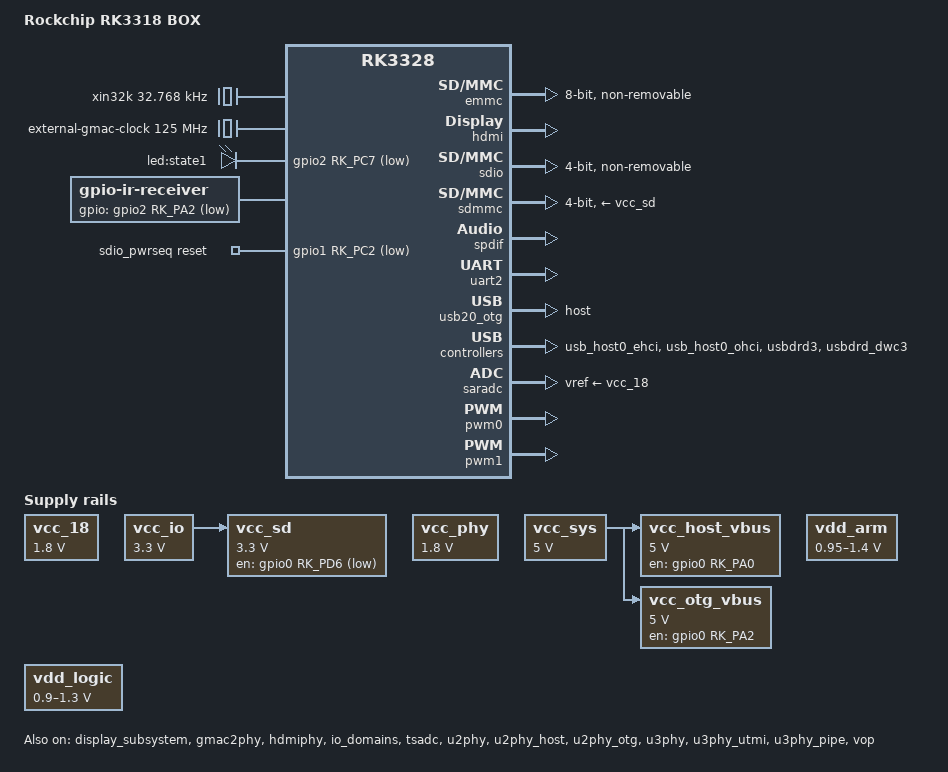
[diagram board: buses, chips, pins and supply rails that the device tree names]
/*
 * Copyright (c) 2017 Fuzhou Rockchip Electronics Co., Ltd
 *
 * This file is dual-licensed: you can use it either under the terms
 * of the GPL or the X11 license, at your option. Note that this dual
 * licensing only applies to this file, and not this project as a
 * whole.
 *
 *  a) This library is free software; you can redistribute it and/or
 *     modify it under the terms of the GNU General Public License as
 *     published by the Free Software Foundation; either version 2 of the
 *     License, or (at your option) any later version.
 *
 *     This library is distributed in the hope that it will be useful,
 *     but WITHOUT ANY WARRANTY; without even the implied warranty of
 *     MERCHANTABILITY or FITNESS FOR A PARTICULAR PURPOSE.  See the
 *     GNU General Public License for more details.
 *
 * Or, alternatively,
 *
 *  b) Permission is hereby granted, free of charge, to any person
 *     obtaining a copy of this software and associated documentation
 *     files (the "Software"), to deal in the Software without
 *     restriction, including without limitation the rights to use,
 *     copy, modify, merge, publish, distribute, sublicense, and/or
 *     sell copies of the Software, and to permit persons to whom the
 *     Software is furnished to do so, subject to the following
 *     conditions:
 *
 *     The above copyright notice and this permission notice shall be
 *     included in all copies or substantial portions of the Software.
 *
 *     THE SOFTWARE IS PROVIDED "AS IS", WITHOUT WARRANTY OF ANY KIND,
 *     EXPRESS OR IMPLIED, INCLUDING BUT NOT LIMITED TO THE WARRANTIES
 *     OF MERCHANTABILITY, FITNESS FOR A PARTICULAR PURPOSE AND
 *     NONINFRINGEMENT. IN NO EVENT SHALL THE AUTHORS OR COPYRIGHT
 *     HOLDERS BE LIABLE FOR ANY CLAIM, DAMAGES OR OTHER LIABILITY,
 *     WHETHER IN AN ACTION OF CONTRACT, TORT OR OTHERWISE, ARISING
 *     FROM, OUT OF OR IN CONNECTION WITH THE SOFTWARE OR THE USE OR
 *     OTHER DEALINGS IN THE SOFTWARE.
 */

/dts-v1/;
#include "rk3328.dtsi"

/ {
	model = "Rockchip RK3318 BOX";
	compatible = "rockchip,rk3318-box", "rockchip,rk3328-box", "rockchip,rk3328";

	aliases {
		mmc0 = <&sdmmc>;
		mmc1 = <&sdio>;
		mmc2 = <&emmc>;
		mmc3 = <&sdmmc_ext>;
	};

	chosen {
		bootargs = "console=ttyS2,115200";
	};

	reserved-memory {
		#address-cells = <2>;
		#size-cells = <2>;
		ranges;

		drm_logo: drm-logo@00000000 {
			compatible = "rockchip,drm-logo";
			reg = <0x0 0x0 0x0 0x0>;
		};

		secure_memory: secure-memory@20000000 {
			compatible = "rockchip,secure-memory";
			reg = <0x0 0x20000000 0x0 0x0>;
		};

		/* global autoconfigured region for contiguous allocations */
		linux,cma {
			compatible = "shared-dma-pool";
			reusable;
			size = <0x0 0x1000000>;
			linux,cma-default;
		};
	};

	regulators {
		compatible = "simple-bus";
		#address-cells = <0x01>;
		#size-cells = <0x00>;

		vcc_18: regulator@0 {
			compatible = "regulator-fixed";
			regulator-name = "vccio_1v8";
			regulator-min-microvolt = <1800000>;
			regulator-max-microvolt = <1800000>;
			regulator-always-on;
		};

		vcc_io: regulator@1 {
			compatible = "regulator-fixed";
			regulator-name = "vccio_3v3";
			regulator-min-microvolt = <3300000>;
			regulator-max-microvolt = <3300000>;
			regulator-always-on;
		};
	};

	xin32k: xin32k {
		compatible = "fixed-clock";
		clock-frequency = <32768>;
		clock-output-names = "xin32k";
		#clock-cells = <0>;
	};

	external-gmac-clock {
		compatible = "fixed-clock";
		clock-frequency = <125000000>;
		clock-output-names = "gmac_clkin";
		#clock-cells = <0x00>;
	};

	vcc_phy: vcc-phy-regulator {
		compatible = "regulator-fixed";
		regulator-name = "vcc_phy";
		regulator-min-microvolt = <1800000>;
		regulator-max-microvolt = <1800000>;
		regulator-always-on;
		regulator-boot-on;
	};

	vcc_sys: vcc-sys {
		compatible = "regulator-fixed";
		regulator-name = "vcc_sys";
		regulator-always-on;
		regulator-boot-on;
		regulator-min-microvolt = <5000000>;
		regulator-max-microvolt = <5000000>;
	};

	vcc_sd: sdmmc-regulator {
		compatible = "regulator-fixed";
		gpio = <&gpio0 RK_PD6 GPIO_ACTIVE_LOW>;
		pinctrl-names = "default";
		pinctrl-0 = <&sdmmc0m1_gpio>;
		regulator-name = "vcc_sd";
		regulator-always-on;
		regulator-boot-on;
		regulator-min-microvolt = <3300000>;
		regulator-max-microvolt = <3300000>;
		vin-supply = <&vcc_io>;
	};

	/*
	* USB3 vbus
	*/
	vcc_host_vbus: vcc-host-vbus {
		compatible = "regulator-fixed";
		enable-active-high;
		gpio = <&gpio0 RK_PA0 GPIO_ACTIVE_HIGH>;
		pinctrl-names = "default";
		pinctrl-0 = <&usb30_host_drv>;
		regulator-name = "vcc_host_vbus";
		regulator-always-on;
		regulator-min-microvolt = <5000000>;
		regulator-max-microvolt = <5000000>;
		vin-supply = <&vcc_sys>;
	};

	/*
	* USB2 OTG vbus
	*/
	vcc_otg_vbus: vcc-otg-vbus {
		compatible = "regulator-fixed";
		enable-active-high;
		gpio = <&gpio0 RK_PA2 GPIO_ACTIVE_HIGH>;
		pinctrl-names = "default";
		pinctrl-0 = <&usb20_host_drv>;
		regulator-name = "vcc_otg_vbus";
		regulator-always-on;
		regulator-min-microvolt = <5000000>;
		regulator-max-microvolt = <5000000>;
		vin-supply = <&vcc_sys>;
	};

	vdd_arm: vdd-arm {
		compatible = "pwm-regulator";
		rockchip,pwm_id = <0>;
		rockchip,pwm_voltage = <1100000>;
 		pwms = <&pwm0 0 5000 1>;
		regulator-name = "vdd_arm";
		regulator-min-microvolt = <950000>;
		regulator-max-microvolt = <1400000>;
		regulator-ramp-delay = <12500>;
		regulator-settling-time-up-us = <250>;
		regulator-always-on;
		regulator-boot-on;
	};

	vdd_logic: vdd-log {
		compatible = "pwm-regulator";
		rockchip,pwm_id = <1>;
		rockchip,pwm_voltage = <1200000>;
		pwms = <&pwm1 0 5000 1>;
		regulator-name = "vdd_log";
		regulator-min-microvolt = <900000>;
		regulator-max-microvolt = <1300000>;
		regulator-ramp-delay = <12500>;
		regulator-settling-time-up-us = <250>;
		regulator-always-on;
		regulator-boot-on;
	};

	leds {
		compatible = "gpio-leds";

		working {
            label = "led:state1";
			gpios = <&gpio2 RK_PC7 GPIO_ACTIVE_LOW>;
			linux,default-trigger = "timer";
			default-state = "on";
		};

	};

	ir-receiver {
		compatible = "gpio-ir-receiver";
		gpios = <&gpio2 RK_PA2 GPIO_ACTIVE_LOW>;
		pinctrl-0 = <&ir_int>;
		pinctrl-names = "default";
	};
    
    sdio_pwrseq: sdio-pwrseq {
		compatible = "mmc-pwrseq-simple";
		pinctrl-names = "default";
		pinctrl-0 = <&wifi_enable_h>;

		/*
		 * On the module itself this is one of these (depending
		 * on the actual card populated):
		 * - SDIO_RESET_L_WL_REG_ON
		 * - PDN (power down when low)
		 */
		reset-gpios = <&gpio1 RK_PC2 GPIO_ACTIVE_LOW>;
	};

};

&cpu0 {
	cpu-supply = <&vdd_arm>;
};

&cpu1 {
	cpu-supply = <&vdd_arm>;
};

&cpu2 {
	cpu-supply = <&vdd_arm>;
};

&cpu3 {
	cpu-supply = <&vdd_arm>;
};

&display_subsystem {

	logo-memory-region = <&drm_logo>;
	secure-memory-region = <&secure_memory>;
	ports = <&vop_out>;

	status = "okay";

	route {
		route_hdmi: route-hdmi {
			status = "okay";
			connect = <&vop_out_hdmi>;
		};
		route_tve: route-tve {
			status = "okay";
			connect = <&vop_out_tve>;
		};
	};

};

&emmc {
	bus-width = <8>;
	cap-mmc-highspeed;
	non-removable;
	disable-wp;
	non-removable;
	num-slots = <0x01>;
	//pinctrl-names = "default";
	//pinctrl-0 = <&emmc_clk &emmc_cmd &emmc_bus8>;
	supports-emmc;
	status = "okay";
};

&gmac2phy {
	phy-supply = <&vcc_phy>;

	phy-mode = "rmii";
	phy-is-integrated;
	clock_in_out = "output";
	assigned-clocks = <&cru SCLK_MAC2PHY>;
	assigned-clock-rate = <50000000>;
	assigned-clock-parents = <&cru SCLK_MAC2PHY_SRC>;
	tx_delay = <0x30>;
	rx_delay = <0x10>;

	status = "okay";

};

&gpu {
	status = "disabled";
	mali-supply = <&vdd_logic>;
};

&hdmi {
	#sound-dai-cells = <0>;
	ddc-i2c-scl-high-time-ns = <9625>;
	ddc-i2c-scl-low-time-ns = <10000>;
	status = "okay";
};

&hdmiphy {
	status = "okay";
};

&io_domains {
	status = "okay";

	vccio1-supply = <&vcc_io>;
	vccio2-supply = <&vcc_18>;
	vccio3-supply = <&vcc_io>;
	vccio4-supply = <&vcc_18>;
	vccio5-supply = <&vcc_io>;
	vccio6-supply = <&vcc_io>;
	pmuio-supply = <&vcc_io>;
};

&pinctrl {
	pinctrl-names = "default";
	pinctrl-0 = <&clk_32k_out>;

	clk_32k {
		clk_32k_out: clk-32k-out {
			rockchip,pins = <1 RK_PD4 RK_FUNC_1 &pcfg_pull_none>;
		};
	};

	ir {
		ir_int: ir-int {
			rockchip,pins = <2 RK_PA2 RK_FUNC_GPIO &pcfg_pull_none>;
		};
	};

	pmic {
		pmic_int_l: pmic-int-l {
			rockchip,pins = <2 RK_PA6 RK_FUNC_GPIO &pcfg_pull_up>;
		};
	};

	sdio-pwrseq {
		wifi_enable_h: wifi-enable-h {
			rockchip,pins = <1 RK_PC2 RK_FUNC_GPIO &pcfg_pull_none_4ma>,
				<1 RK_PC3 RK_FUNC_GPIO &pcfg_pull_none_4ma>;
		};
	};

	usb2 {
		usb20_host_drv: usb20-host-drv {
			rockchip,pins = <0 RK_PA2 RK_FUNC_GPIO &pcfg_pull_none>;
		};
	};

	usb3 {
		usb30_host_drv: usb30-host-drv {
			rockchip,pins = <0 RK_PA0 RK_FUNC_GPIO &pcfg_pull_none>;
		};
	};

	wireless-bluetooth {
		uart0_gpios: uart0-gpios {
			rockchip,pins = <1 RK_PB2 RK_FUNC_GPIO &pcfg_pull_none>;
		};
	};
};

&sdio {
	bus-width = <4>;
	cap-sd-highspeed;
	cap-sdio-irq;
	disable-wp;
	keep-power-in-suspend;
	mmc-pwrseq = <&sdio_pwrseq>;
	non-removable;
	num-slots = <1>;
	pinctrl-names = "default";
	pinctrl-0 = <&sdmmc1_bus4 &sdmmc1_cmd &sdmmc1_clk>;
	supports-sdio;
	status = "okay";
};

&sdmmc {
	bus-width = <4>;
	cap-mmc-highspeed;
	cap-sd-highspeed;
	card-detect-delay = <800>;
	disable-wp;
	pinctrl-names = "default";
	pinctrl-0 = <&sdmmc0_clk &sdmmc0_cmd &sdmmc0_dectn &sdmmc0_bus4>;
	supports-sd;
	vmmc-supply = <&vcc_sd>;
	status = "okay";
};

&spdif {
	#sound-dai-cells = <0>;
	pinctrl-names = "default";
	pinctrl-0 = <&spdifm0_tx>;
	status = "okay";
};

&threshold {
	temperature = <80000>; /* millicelsius */
};

&target {
	temperature = <95000>; /* millicelsius */
};

&soc_crit {
	temperature = <100000>; /* millicelsius */
};

&tsadc {
	rockchip,hw-tshut-mode = <0>;
	rockchip,hw-tshut-polarity = <0>;
	rockchip,hw-tshut-temp = <110000>;
	status = "okay";
};

&uart2 {
	status = "okay";
	dma-names = "tx", "rx";
};

&u2phy {
	status = "okay";
};

&u2phy_host {
	vbus-supply = <&vcc_otg_vbus>;
	status = "okay";
};

&u2phy_otg {
	vbus-supply = <&vcc_otg_vbus>;
	status = "okay";
};

&u3phy {
	status = "okay";
};

&u3phy_utmi {
	vbus-supply = <&vcc_host_vbus>;
	status = "okay";
};

&u3phy_pipe {
	vbus-supply = <&vcc_host_vbus>;
	status = "okay";
};

&usb20_otg {
	vusb_d-supply = <&vcc_otg_vbus>;
	vusb_a-supply = <&vcc_otg_vbus>;
	dr_mode = "host";
	status = "okay";
};

&usb_host0_ehci {
	status = "okay";
};

&usb_host0_ohci {
	status = "okay";
};

&usbdrd3 {
	status = "okay";
};

&usbdrd_dwc3 {
	status = "okay";
};

&vop {
    rockchip,grf = <&grf>;
	status = "okay";
};

&vop_mmu {
	status = "okay";
};

&saradc {
	vref-supply = <&vcc_18>;
	status = "okay";
};

&pwm0 {
	status = "okay";
	pinctrl-names = "active";
	pinctrl-0 = <&pwm0_pin_pull_up>;
};

&pwm1 {
	status = "okay";
	pinctrl-names = "active";
	pinctrl-0 = <&pwm1_pin_pull_up>;
};

&cpu0_opp_table {
    /delete-node/ opp-1200000000;
    /delete-node/ opp-1296000000;
	/delete-node/ opp-1392000000;
	/delete-node/ opp-1512000000;
};
